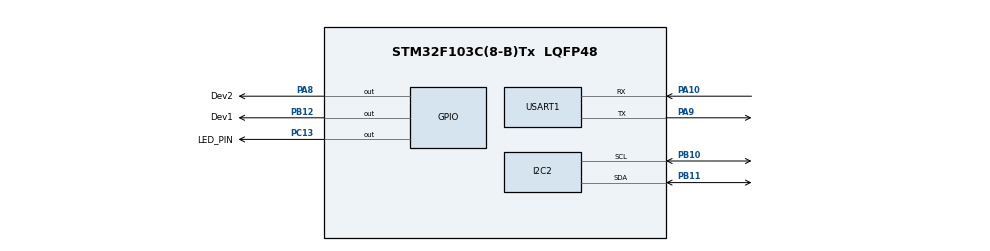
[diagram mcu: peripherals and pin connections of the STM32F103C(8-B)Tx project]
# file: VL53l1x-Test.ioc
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Mcu.Family=STM32F1
Mcu.Name=STM32F103C(8-B)Tx
Mcu.Package=LQFP48
NVIC.PriorityGroup=NVIC_PRIORITYGROUP_4
PA10.Mode=Asynchronous
PA10.Signal=USART1_RX
PA8.GPIO_Label=Dev2
PA8.Signal=GPIO_Output
PA9.Mode=Asynchronous
PA9.Signal=USART1_TX
PB10.Mode=I2C
PB10.Signal=I2C2_SCL
PB11.Mode=I2C
PB11.Signal=I2C2_SDA
PB12.GPIO_Label=Dev1
PB12.PinState=GPIO_PIN_RESET
PB12.Signal=GPIO_Output
PC13-TAMPER-RTC.GPIO_Label=LED_PIN
PC13-TAMPER-RTC.Signal=GPIO_Output
PC14-OSC32_IN.Mode=LSE-External-Oscillator
PC14-OSC32_IN.Signal=RCC_OSC32_IN
PC15-OSC32_OUT.Mode=LSE-External-Oscillator
PC15-OSC32_OUT.Signal=RCC_OSC32_OUT
PD0-OSC_IN.Mode=HSE-External-Oscillator
PD0-OSC_IN.Signal=RCC_OSC_IN
PD1-OSC_OUT.Mode=HSE-External-Oscillator
PD1-OSC_OUT.Signal=RCC_OSC_OUT
ProjectManager.HeapSize=0x200
ProjectManager.StackSize=0x400
ProjectManager.TargetToolchain=STM32CubeIDE
RCC.AHBFreq_Value=72000000
RCC.APB1CLKDivider=RCC_HCLK_DIV2
RCC.APB1Freq_Value=36000000
RCC.APB1TimFreq_Value=72000000
RCC.APB2Freq_Value=72000000
RCC.APB2TimFreq_Value=72000000
RCC.HCLKFreq_Value=72000000
RCC.PLLMUL=RCC_PLL_MUL9
RCC.PLLSourceVirtual=RCC_PLLSOURCE_HSE
RCC.SYSCLKFreq_VALUE=72000000
RCC.SYSCLKSource=RCC_SYSCLKSOURCE_PLLCLK
RCC.USBFreq_Value=72000000
USART1.VirtualMode=VM_ASYNC
board=custom

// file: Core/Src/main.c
/* USER CODE BEGIN Header */
/**
 ******************************************************************************
 * @file           : main.c
 * @brief          : Main program body
 ******************************************************************************
 * @attention
 *
 * Copyright (c) 2023 STMicroelectronics.
 * All rights reserved.
 *
 * This software is licensed under terms that can be found in the LICENSE file
 * in the root directory of this software component.
 * If no LICENSE file comes with this software, it is provided AS-IS.
 *
 ******************************************************************************
 */
/* USER CODE END Header */
#include "main.h"

/* USER CODE BEGIN Includes */
#include "VL53L1X_api.h"
#include <stdbool.h>

/* USER CODE END Includes */

/* USER CODE BEGIN PD */
#define SensorNumber 1
/* USER CODE END PD */

I2C_HandleTypeDef hi2c2;

UART_HandleTypeDef huart1;

/* USER CODE BEGIN PV */

VL53L1_Dev_t devs[SensorNumber];
uint8_t		DevicesAddresses[SensorNumber] = {0x50, 0x02};
int			status = 0;

uint8_t		sensorState = 0;
uint16_t Distance;
uint16_t SignalRate;
uint16_t AmbientRate;
uint16_t AmbientPerSpad;
uint8_t RangeStatus;
/* USER CODE END PV */

void	SystemClock_Config(void);
static void	MX_GPIO_Init(void);
static void	MX_USART1_UART_Init(void);
static void	MX_I2C2_Init(void);
/* USER CODE BEGIN PFP */

void	EnableSensor(VL53L1_Dev_t *device)
{
	HAL_GPIO_WritePin((*device).XSHUT_GPIO, (*device).XSHUT_PIN, GPIO_PIN_SET);
}

void	DisableSensor(VL53L1_Dev_t *device)
{
	HAL_GPIO_WritePin((*device).XSHUT_GPIO, (*device).XSHUT_PIN,
			GPIO_PIN_RESET);
}

ssize_t	_write(int fd, const char *buf, size_t nbyte)
{
	HAL_UART_Transmit(&huart1, (uint8_t *)buf, nbyte, 10);
	return (nbyte);
}

void	GetMeasurements(VL53L1_Dev_t *device)
{
	// GetMeasurements of: range status, distance, signal rate
	status = VL53L1X_GetRangeStatus(*device, &RangeStatus);
	status = VL53L1X_GetDistance(*device, &Distance);
	status = VL53L1X_GetSignalRate(*device, &SignalRate);
	status = VL53L1X_GetAmbientRate(*device, &AmbientRate);
	status = VL53L1X_GetAmbientPerSpad(*device, &AmbientPerSpad);

	printf("RangeStatus: %u, ", RangeStatus);
	printf("Distance: %u, ", Distance);
	printf("SignalRate: %u, ", SignalRate);
	printf("AmbientPerSpad: %u\n\r", AmbientPerSpad);
}

void	SetDeviceAddress(VL53L1_Dev_t *device, uint8_t NewAddress)
{
	VL53L1X_SetI2CAddress(*device, NewAddress);
	(*device).I2cDevAddr = NewAddress;
}

void	InitSensor(VL53L1_Dev_t *device, uint8_t AddressToAssign)
{ // Boot up and initialize the device and assign a new addr to the device.
	EnableSensor(device);
	printf("DeviceXSHUTBooted\n\r");
	status = VL53L1X_SensorInit(*device);
	SetDeviceAddress(device, AddressToAssign);
	printf("DeviceNewAddr: %X\n\r", (*device).I2cDevAddr);

	uint8_t byteData;
	status = VL53L1_RdByte(device, 0x010F, &byteData);
	printf("VL53L1X Model_ID: %X\n\r", byteData);
	status = VL53L1_RdByte(device, 0x0110, &byteData);
	printf("VL53L1X Module_Type: %X\n\r", byteData);

	while (sensorState == 0)
	{
		status = VL53L1X_BootState(*device, &sensorState);
		HAL_Delay(2);
		printf("Chip failed to boot\n\r");
	}

	printf("Chip booted\n\r");

	status = VL53L1X_SetDistanceMode(*device, 1); /* 1=short, 2=long */
	status = VL53L1X_SetROI(*device, 4, 5);       /* minimum ROI 4,4 */
}

/* USER CODE END PFP */

int	main(void)
{
	/* USER CODE BEGIN 1 */
	void InitAllSensors2Ranging()
	{
		for (int i = 0; i < SensorNumber; i++)
		{
			DisableSensor(&(devs[i]));
		}

		for (int i = 0; i < SensorNumber; i++)
		{
			EnableSensor(&(devs[i]));
			InitSensor(&(devs[i]), DevicesAddresses[i]);
			status = VL53L1X_StartRanging(devs[i]);
		}
	}
	/* USER CODE END 1 */

	/* MCU Configuration--------------------------------------------------------*/

	/* Reset of all peripherals,
		Initializes the Flash interface and the Systick. */
	HAL_Init();

	/* USER CODE BEGIN Init */

	for (int i = 0; i < SensorNumber; i++)
	{
		devs[i].I2cHandle = &hi2c2;
		devs[i].I2cDevAddr = 0x52;
	}

	devs[0].XSHUT_GPIO = Dev2_GPIO_Port;
	// devs[1].XSHUT_GPIO = Dev2_GPIO_Port;

	devs[0].XSHUT_PIN = Dev2_Pin;
	// devs[1].XSHUT_PIN = Dev2_Pin;
	/* USER CODE END Init */

	/* Configure the system clock */
	SystemClock_Config();

	/* Initialize all configured peripherals */
	MX_GPIO_Init();
	MX_USART1_UART_Init();
	MX_I2C2_Init();
	/* USER CODE BEGIN 2 */

	InitAllSensors2Ranging();

	/* USER CODE END 2 */

	/* Infinite loop */
	while (1)
	{

		/* USER CODE BEGIN 3 */
		status = VL53L1X_GetDistance(devs[0], &Distance);
		printf("Dev0: %u, ", Distance );
		// status = VL53L1X_GetDistance(devs[1], &Distance);
		// printf("Dev1: %u", Distance);
		printf("\n\r");
	}
	/* USER CODE END 3 */
}

void	SystemClock_Config(void)
{
	RCC_OscInitTypeDef RCC_OscInitStruct = {0};
	RCC_ClkInitTypeDef RCC_ClkInitStruct = {0};

	/** Initializes the RCC Oscillators according to the specified parameters
  * in the RCC_OscInitTypeDef structure.
  */
	RCC_OscInitStruct.OscillatorType = RCC_OSCILLATORTYPE_HSE;
	RCC_OscInitStruct.HSEState = RCC_HSE_ON;
	RCC_OscInitStruct.HSEPredivValue = RCC_HSE_PREDIV_DIV1;
	RCC_OscInitStruct.HSIState = RCC_HSI_ON;
	RCC_OscInitStruct.PLL.PLLState = RCC_PLL_ON;
	RCC_OscInitStruct.PLL.PLLSource = RCC_PLLSOURCE_HSE;
	RCC_OscInitStruct.PLL.PLLMUL = RCC_PLL_MUL9;
	if (HAL_RCC_OscConfig(&RCC_OscInitStruct) != HAL_OK)
	{
		Error_Handler();
	}

	/** Initializes the CPU, AHB and APB buses clocks
  */
	RCC_ClkInitStruct.ClockType = RCC_CLOCKTYPE_HCLK | RCC_CLOCKTYPE_SYSCLK | RCC_CLOCKTYPE_PCLK1 | RCC_CLOCKTYPE_PCLK2;
	RCC_ClkInitStruct.SYSCLKSource = RCC_SYSCLKSOURCE_PLLCLK;
	RCC_ClkInitStruct.AHBCLKDivider = RCC_SYSCLK_DIV1;
	RCC_ClkInitStruct.APB1CLKDivider = RCC_HCLK_DIV2;
	RCC_ClkInitStruct.APB2CLKDivider = RCC_HCLK_DIV1;

	if (HAL_RCC_ClockConfig(&RCC_ClkInitStruct, FLASH_LATENCY_2) != HAL_OK)
	{
		Error_Handler();
	}
}

static void	MX_I2C2_Init(void)
{

	hi2c2.Instance = I2C2;
	hi2c2.Init.ClockSpeed = 100000;
	hi2c2.Init.DutyCycle = I2C_DUTYCYCLE_2;
	hi2c2.Init.OwnAddress1 = 0;
	hi2c2.Init.AddressingMode = I2C_ADDRESSINGMODE_7BIT;
	hi2c2.Init.DualAddressMode = I2C_DUALADDRESS_DISABLE;
	hi2c2.Init.OwnAddress2 = 0;
	hi2c2.Init.GeneralCallMode = I2C_GENERALCALL_DISABLE;
	hi2c2.Init.NoStretchMode = I2C_NOSTRETCH_DISABLE;
	if (HAL_I2C_Init(&hi2c2) != HAL_OK)
	{
		Error_Handler();
	}
}

static void	MX_USART1_UART_Init(void)
{

	huart1.Instance = USART1;
	huart1.Init.BaudRate = 115200;
	huart1.Init.WordLength = UART_WORDLENGTH_8B;
	huart1.Init.StopBits = UART_STOPBITS_1;
	huart1.Init.Parity = UART_PARITY_NONE;
	huart1.Init.Mode = UART_MODE_TX_RX;
	huart1.Init.HwFlowCtl = UART_HWCONTROL_NONE;
	huart1.Init.OverSampling = UART_OVERSAMPLING_16;
	if (HAL_UART_Init(&huart1) != HAL_OK)
	{
		Error_Handler();
	}
}

static void	MX_GPIO_Init(void)
{
	GPIO_InitTypeDef GPIO_InitStruct = {0};

	/* GPIO Ports Clock Enable */
	__HAL_RCC_GPIOC_CLK_ENABLE();
	__HAL_RCC_GPIOD_CLK_ENABLE();
	__HAL_RCC_GPIOB_CLK_ENABLE();
	__HAL_RCC_GPIOA_CLK_ENABLE();

	/*Configure GPIO pin Output Level */
	HAL_GPIO_WritePin(LED_PIN_GPIO_Port, LED_PIN_Pin, GPIO_PIN_RESET);

	/*Configure GPIO pin Output Level */
	HAL_GPIO_WritePin(Dev1_GPIO_Port, Dev1_Pin, GPIO_PIN_RESET);

	/*Configure GPIO pin Output Level */
	HAL_GPIO_WritePin(Dev2_GPIO_Port, Dev2_Pin, GPIO_PIN_RESET);

	/*Configure GPIO pin : LED_PIN_Pin */
	GPIO_InitStruct.Pin = LED_PIN_Pin;
	GPIO_InitStruct.Mode = GPIO_MODE_OUTPUT_PP;
	GPIO_InitStruct.Pull = GPIO_NOPULL;
	GPIO_InitStruct.Speed = GPIO_SPEED_FREQ_LOW;
	HAL_GPIO_Init(LED_PIN_GPIO_Port, &GPIO_InitStruct);

	/*Configure GPIO pin : Dev1_Pin */
	GPIO_InitStruct.Pin = Dev1_Pin;
	GPIO_InitStruct.Mode = GPIO_MODE_OUTPUT_PP;
	GPIO_InitStruct.Pull = GPIO_NOPULL;
	GPIO_InitStruct.Speed = GPIO_SPEED_FREQ_LOW;
	HAL_GPIO_Init(Dev1_GPIO_Port, &GPIO_InitStruct);

	/*Configure GPIO pin : Dev2_Pin */
	GPIO_InitStruct.Pin = Dev2_Pin;
	GPIO_InitStruct.Mode = GPIO_MODE_OUTPUT_PP;
	GPIO_InitStruct.Pull = GPIO_NOPULL;
	GPIO_InitStruct.Speed = GPIO_SPEED_FREQ_LOW;
	HAL_GPIO_Init(Dev2_GPIO_Port, &GPIO_InitStruct);
}

void	Error_Handler(void)
{
	__disable_irq();
	while (1)
	{
	}
}

#ifdef USE_FULL_ASSERT
/**
  * @brief  Reports the name of the source file and the source line number
  *         where the assert_param error has occurred.
  * @param  file: pointer to the source file name
  * @param  line: assert_param error line source number
  * @retval None
  */
void	assert_failed(uint8_t *file, uint32_t line)
{
	/* USER CODE BEGIN 6 */
	/* User can add his own implementation to report the file name and line number,
		ex: printf("Wrong parameters value: file %s on line %d\r\n", file,
	line) */
	/* USER CODE END 6 */
}
#endif /* USE_FULL_ASSERT */
